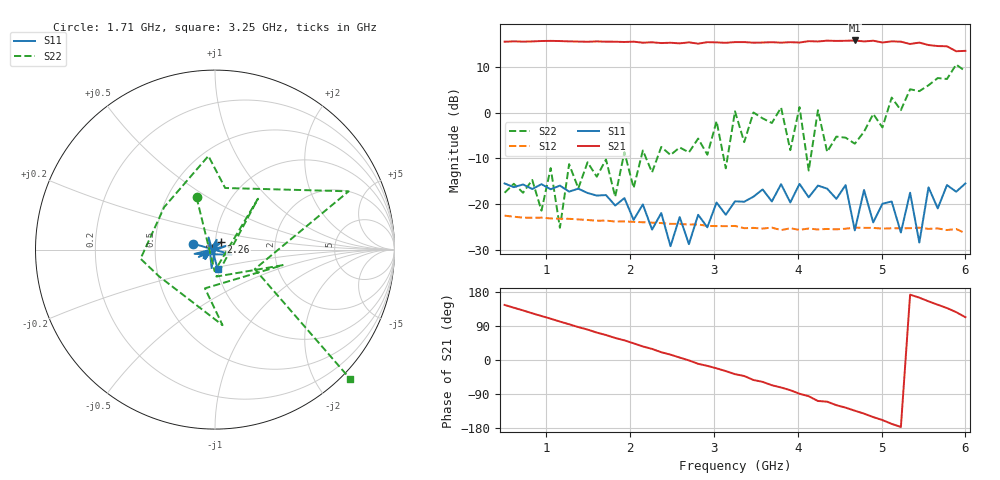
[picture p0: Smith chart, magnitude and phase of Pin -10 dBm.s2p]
! RsaToolbox (C) 2015 Rohde & Schwarz America
! Number of points: 51
! Number of ports: 2
! Balanced ports?: No
# Hz S RI R 50
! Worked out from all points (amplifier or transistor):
!   51 points, 500 MHz to 6 GHz, reference 50 ohm
!   highest |S21| = 15.9 dB at 4.68 GHz (marker M1)
!   |S21| within 3 dB of that: start of sweep to end of sweep
!   unconditionally stable (mu >= 1): start of sweep to 3.006 GHz; 3.046 GHz to 3.218 GHz; 4.289 GHz to 4.796 GHz (the widest 3 of 6)
!   at 1.38 GHz: K = 1.35, MAG = 16.0 dB, |S12| = -23.4 dB
!   at 3.25 GHz: K = 0.11, MSG = 20.2 dB, |S12| = -24.8 dB
!   at 6 GHz: K = -14.97, MSG = 20.0 dB, |S12| = -26.4 dB
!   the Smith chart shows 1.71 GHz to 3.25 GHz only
!   S11 on the Smith chart (normalised r, x): 1.71 GHz: 0.78, +0.05; 2.26 GHz: 1.07, +0.09; 3.25 GHz: 1.01, -0.22
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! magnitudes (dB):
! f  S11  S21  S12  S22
! 500 MHz  -15.5  15.6  -22.5  -17.5
! 940 MHz  -15.6  15.8  -23.0  -21.4
! 1.05 GHz  -16.8  15.8  -23.2  -12.1
! 1.16 GHz  -15.9  15.8  -23.2  -25.2
! 1.27 GHz  -17.3  15.7  -23.2  -11.2
! 1.49 GHz  -17.6  15.6  -23.5  -10.8
! 1.71 GHz  -18.0  15.6  -23.6  -10.2
! 2.26 GHz  -25.6  15.5  -24.1  -13.0
! 2.37 GHz  -22.0  15.3  -24.2  -7.5
! 2.7 GHz  -28.8  15.5  -24.5  -8.7
! 3.03 GHz  -19.7  15.5  -24.8  -1.8
! 3.14 GHz  -22.3  15.4  -24.8  -12.2
! 3.25 GHz  -19.4  15.5  -24.8  0.3
! 3.91 GHz  -19.6  15.5  -25.3  -8.2
! 4.02 GHz  -15.6  15.4  -25.7  1.3
! 4.13 GHz  -18.5  15.7  -25.4  -12.6
! 4.24 GHz  -15.9  15.7  -25.6  0.6
! 4.68 GHz  -25.8  15.9  -25.2  -6.8
! 5.12 GHz  -19.4  15.7  -25.3  3.4
! 5.45 GHz  -28.4  15.4  -25.2  4.8
! 5.56 GHz  -16.3  14.9  -25.4  6.1
! 6 GHz  -15.5  13.6  -26.4  9.2
